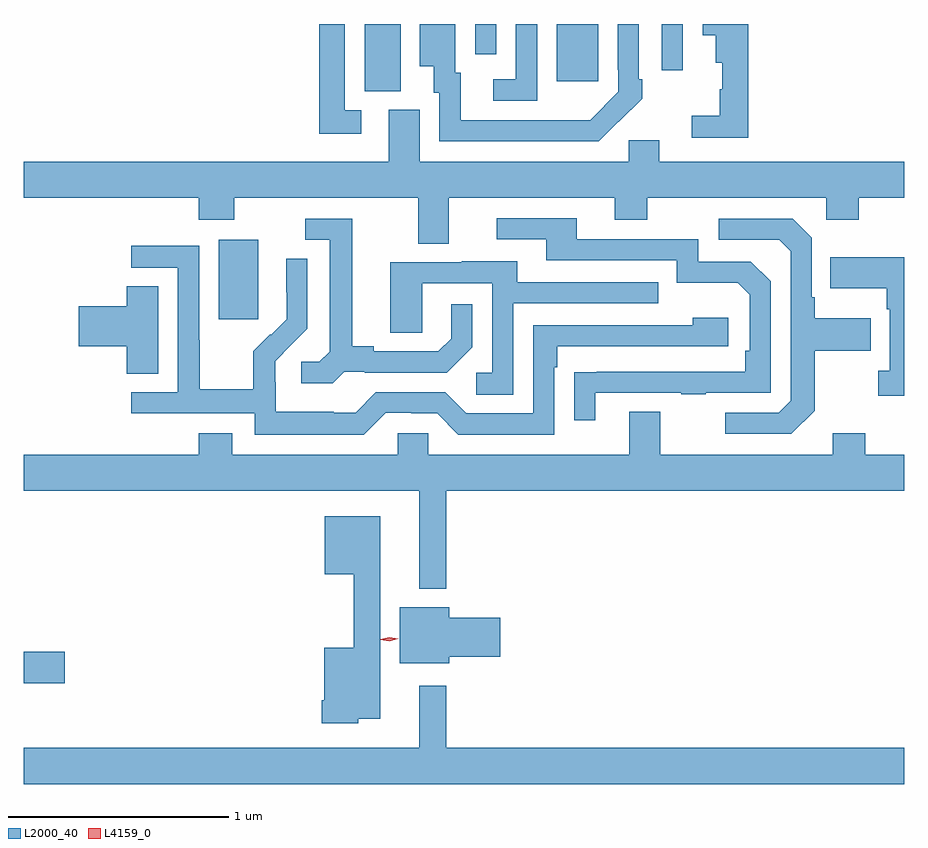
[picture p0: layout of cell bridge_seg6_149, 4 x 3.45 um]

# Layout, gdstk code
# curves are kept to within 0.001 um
import gdstk
lib = gdstk.Library(unit=1e-6, precision=1e-09)
def R(c, l, rs):  # rectangles x0, y0, x1, y1
    for r in rs: c.add(gdstk.rectangle(r[:2], r[2:], *l))
def P(c, l, *ps):  # polygons
    for p in ps: c.add(gdstk.Polygon(p, *l))
L2000_40 = (2000, 40)
L4159_0 = (4159, 0)

bridge_seg6_149 = lib.new_cell('bridge_seg6_149')
R(bridge_seg6_149, L2000_40, [(603.11,939.802,603.295,939.944), (603.995,941.457,604.174,941.818), (604.658,942.493,604.822,942.798), (605.531,942.537,605.719,942.798), (606.009,942.588,606.105,942.798), (605.16,942.66,605.256,942.798)])
P(bridge_seg6_149, L2000_40, [(606.401,942.798),(606.194,942.798),(606.194,942.746),(606.254,942.746),(606.254,942.623),(606.284,942.623),(606.284,942.501),(606.273,942.501),(606.273,942.381),(606.144,942.381),(606.144,942.282),(606.401,942.282)],
  [(605.813,942.355),(605.814,942.354),(605.919,942.459),(605.919,942.547),(605.904,942.547),(605.904,942.798),(605.808,942.798),(605.808,942.589),(605.811,942.589),(605.811,942.489),(605.683,942.361),(605.579,942.36),(605.095,942.36),(605.095,942.576),(605.071,942.576),(605.071,942.798),(604.91,942.798),(604.91,942.605),(604.973,942.605),(604.973,942.486),(604.998,942.486),(604.998,942.264),(605.722,942.264)],
  [(604.642,942.405),(604.569,942.405),(604.569,942.798),(604.453,942.798),(604.453,942.3),(604.642,942.3)],
  [(605.442,942.798),(605.346,942.798),(605.346,942.546),(605.244,942.546),(605.244,942.45),(605.442,942.45)],
  [(605.041,942.008),(605.795,942.008),(605.795,941.909),(605.943,941.909),(605.943,942.008),(606.756,942.008),(606.756,941.909),(606.903,941.909),(606.903,942.008),(607.11,942.008),(607.11,942.172),(605.998,942.172),(605.998,942.27),(605.859,942.27),(605.859,942.172),(604.909,942.172),(604.909,942.408),(604.769,942.408),(604.769,942.172),(603.11,942.172),(603.11,942.008),(603.905,942.008),(603.905,941.909),(604.065,941.909),(604.065,942.008),(604.901,942.008),(604.901,941.8),(605.041,941.8)],
  [(605.707,941.121),(606.097,941.121),(606.097,941.116),(606.209,941.116),(606.209,941.121),(606.504,941.121),(606.504,941.628),(606.414,941.718),(606.174,941.718),(606.174,941.82),(605.623,941.82),(605.623,941.916),(605.259,941.916),(605.259,941.82),(605.483,941.82),(605.483,941.724),(606.078,941.724),(606.078,941.621),(606.355,941.621),(606.408,941.568),(606.408,941.314),(606.388,941.314),(606.388,941.217),(605.611,941.216),(605.611,940.998),(605.707,940.998)],
  [(604.566,941.217),(604.66,941.217),(604.66,941.214),(605.032,941.214),(605.148,941.33),(605.148,941.524),(605.051,941.524),(605.051,941.367),(604.994,941.31),(604.699,941.31),(604.699,941.333),(604.603,941.333),(604.603,941.913),(604.389,941.913),(604.389,941.817),(604.499,941.817),(604.499,941.309),(604.452,941.262),(604.371,941.262),(604.371,941.165),(604.514,941.165)],
  [(606.703,941.041),(606.703,941.314),(606.959,941.314),(606.959,941.461),(606.703,941.461),(606.703,941.557),(606.69,941.557),(606.69,941.826),(606.603,941.913),(606.267,941.913),(606.267,941.817),(606.543,941.817),(606.594,941.766),(606.594,941.085),(606.54,941.031),(606.297,941.031),(606.297,940.935),(606.597,940.935)],
  [(604.755,941.031),(604.871,941.031),(604.871,941.028),(604.989,941.028),(605.085,940.932),(605.52,940.932),(605.52,941.237),(605.533,941.237),(605.533,941.334),(606.31,941.334),(606.31,941.464),(606.149,941.464),(606.149,941.43),(605.424,941.43),(605.424,941.028),(605.121,941.028),(605.025,941.124),(604.71,941.124),(604.617,941.031),(604.517,941.031),(604.517,941.035),(604.254,941.035),(604.254,941.169),(604.252,941.169),(604.252,941.266),(604.398,941.414),(604.398,941.732),(604.302,941.732),(604.302,941.578),(604.304,941.578),(604.304,941.456),(604.233,941.385),(604.23,941.388),(604.153,941.311),(604.153,941.137),(603.909,941.137),(603.909,941.36),(603.906,941.36),(603.906,941.79),(603.597,941.79),(603.597,941.691),(603.81,941.691),(603.81,941.124),(603.597,941.124),(603.597,941.028),(604.158,941.028),(604.158,940.931),(604.655,940.931)],
  [(607.11,941.737),(606.775,941.737),(606.775,941.597),(607.032,941.597),(607.032,941.501),(607.044,941.501),(607.044,941.222),(606.993,941.222),(606.993,941.109),(607.11,941.109)],
  [(605.334,941.529),(605.993,941.529),(605.993,941.625),(605.353,941.625),(605.353,941.719),(605.099,941.719),(605.099,941.715),(604.775,941.715),(604.775,941.395),(604.92,941.395),(604.92,941.619),(605.238,941.619),(605.238,941.214),(605.166,941.214),(605.166,941.113),(605.334,941.113)],
  [(603.721,941.606),(603.578,941.606),(603.578,941.516),(603.36,941.516),(603.36,941.333),(603.578,941.333),(603.578,941.209),(603.721,941.209)],
  [(605.029,940.676),(607.11,940.676),(607.11,940.84),(606.933,940.84),(606.933,940.939),(606.785,940.939),(606.785,940.84),(606.001,940.84),(606.001,941.035),(605.861,941.035),(605.861,940.84),(604.947,940.84),(604.947,940.938),(604.809,940.938),(604.809,940.84),(604.057,940.84),(604.057,940.939),(603.905,940.939),(603.905,940.84),(603.11,940.84),(603.11,940.676),(604.907,940.676),(604.907,940.232),(605.029,940.232)],
  [(604.629,939.641),(604.729,939.641),(604.729,940.561),(604.478,940.561),(604.478,940.298),(604.608,940.298),(604.608,939.964),(604.475,939.964),(604.475,939.724),(604.463,939.724),(604.463,939.62),(604.629,939.62)],
  [(605.044,939.922),(605.275,939.922),(605.275,940.1),(605.044,940.1),(605.044,940.147),(604.817,940.147),(604.817,939.893),(605.044,939.893)],
  [(607.11,939.508),(605.029,939.508),(605.029,939.79),(604.907,939.79),(604.907,939.508),(603.11,939.508),(603.11,939.344),(607.11,939.344)])
P(bridge_seg6_149, L4159_0, [(604.771,939.992),(604.73,940),(604.73,940),(604.73,940.001),(604.77,940.012),(604.812,940.004),(604.812,940.003),(604.812,940.003)])

lib.write_gds('bridge_seg6_149.gds')
